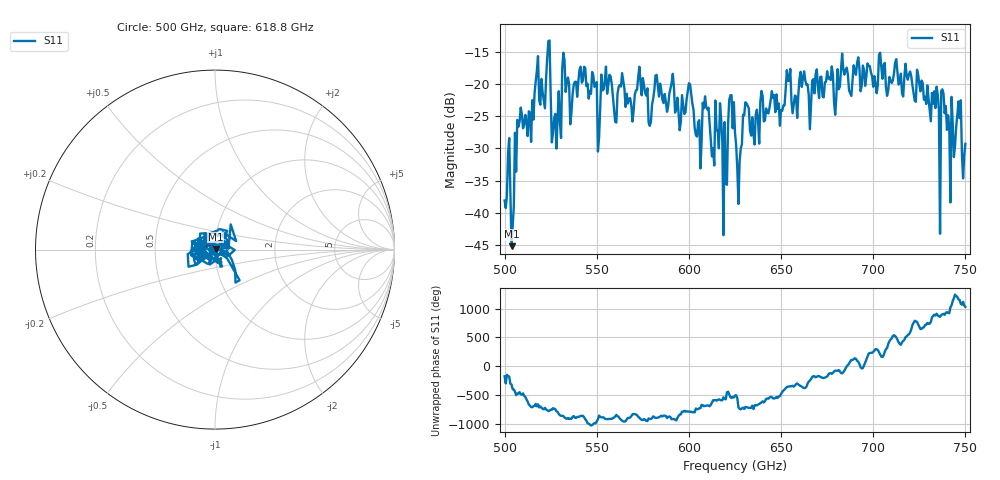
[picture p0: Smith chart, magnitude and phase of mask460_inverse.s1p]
!Created with skrf (http://scikit-rf.org).
# GHz S MA R 50.0
!freq magS11 angS11
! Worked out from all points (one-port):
!   401 points, 500 GHz to 750 GHz, reference 50 ohm
!   lowest |S11| = -45.2 dB at 503.8 GHz (marker M1), VSWR 1.01, Z = 50.4 + j0.369 ohm
!   |S11| at or under -10 dB: start of sweep to end of sweep
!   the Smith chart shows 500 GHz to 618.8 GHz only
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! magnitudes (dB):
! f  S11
! 500 GHz  -38.1
! 503.8 GHz  -45.2
! 508.1 GHz  -25.8
! 523.8 GHz  -13.3
! 526.9 GHz  -25.3
! 531.2 GHz  -17.6
! 548.8 GHz  -20.4
! 550.6 GHz  -30.5
! 562.5 GHz  -20.1
! 593.8 GHz  -22.1
! 600.6 GHz  -20.0
! 605.6 GHz  -25.6
! 609.4 GHz  -23.5
! 612.5 GHz  -31.3
! 616.9 GHz  -23.0
! 619.4 GHz  -25.9
! 623.1 GHz  -21.7
! 625 GHz  -27.6
! 627.5 GHz  -32.0
! 630.6 GHz  -22.8
! 656.2 GHz  -24.5
! 687.5 GHz  -21.4
! 718.8 GHz  -19.3
! 735 GHz  -21.6
! 738.1 GHz  -21.5
! 743.1 GHz  -26.2
! 746.2 GHz  -22.7
! 750 GHz  -29.3
